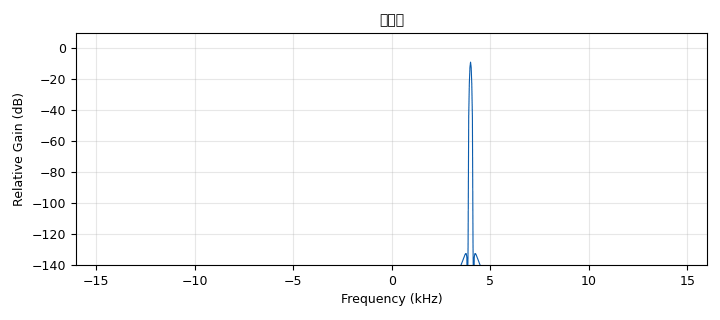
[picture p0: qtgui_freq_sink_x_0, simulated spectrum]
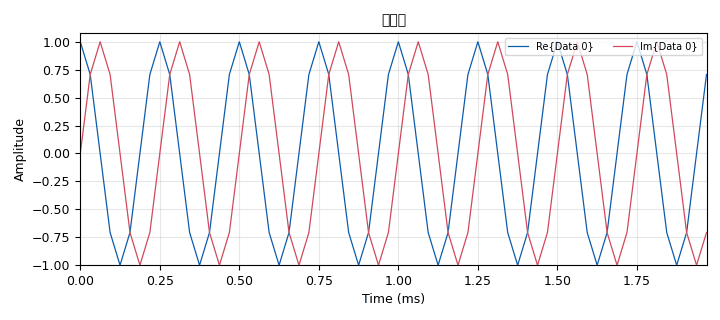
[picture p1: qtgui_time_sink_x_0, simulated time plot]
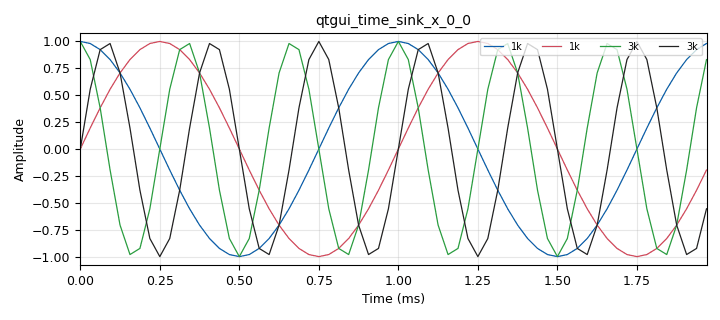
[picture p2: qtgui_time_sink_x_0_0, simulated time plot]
options:
  parameters:
    generate_options: qt_gui
    id: work
    output_language: python
    title: Not titled yet
  states: {}

blocks:
- name: samp_rate
  id: variable
  parameters:
    value: '32000'
  states: {}
- name: analog_sig_source_x_0
  id: analog_sig_source_x
  parameters:
    amp: '1'
    freq: '1000'
    offset: '0'
    phase: '0'
    samp_rate: samp_rate
    type: complex
    waveform: analog.GR_COS_WAVE
  states: {}
- name: analog_sig_source_x_0_0
  id: analog_sig_source_x
  parameters:
    amp: '1'
    freq: '3000'
    offset: '0'
    phase: '0'
    samp_rate: samp_rate
    type: complex
    waveform: analog.GR_COS_WAVE
  states: {}
- name: blocks_throttle_0
  id: blocks_throttle
  parameters:
    samples_per_second: samp_rate
    type: complex
  states: {}
- name: epy_block_0
  id: epy_block
  parameters:
    _source_code: |
      """
      Embedded Python Blocks:

      Each time this file is saved, GRC will instantiate the first class it finds
      to get ports and parameters of your block. The arguments to __init__  will
      be the parameters. All of them are required to have default values!
      """

      import numpy as np
      from gnuradio import gr


      class blk(gr.sync_block):  # other base classes are basic_block, decim_block, interp_block
          """Embedded Python Block example - a simple multiply const"""

          def __init__(self, additionFlag=True):  # only default arguments here
              """arguments to this function show up as parameters in GRC"""
              gr.sync_block.__init__(
                  self,
                  name='Add or Multiply Block',   # will show up in GRC
                  in_sig=[np.complex64,np.complex64],
                  out_sig=[np.complex64]
              )
              # if an attribute with the same name as a parameter is found,
              # a callback is registered (properties work, too).
              self.additionFlag = additionFlag

          def work(self, input_items, output_items):
              """example: add or multiply base on flag"""
              if (self.additionFlag == True):
                  output_items[0][:] = input_items[0][:] + input_items[1][:]       
              else:
                  output_items[0][:] = input_items[0][:] * input_items[1][:]
              return len(output_items[0])
    additionFlag: 'False'
  states: {}
- name: qtgui_freq_sink_x_0
  id: qtgui_freq_sink_x
  parameters:
    bw: samp_rate
    fc: '0'
    fftsize: '1024'
    gui_hint: 1,1,1,1
    name: '"运算后"'
    type: complex
  states: {}
- name: qtgui_time_sink_x_0
  id: qtgui_time_sink_x
  parameters:
    gui_hint: 1,0,1,1
    name: '"运算后"'
    size: '64'
    srate: samp_rate
    type: complex
  states: {}
- name: qtgui_time_sink_x_0_0
  id: qtgui_time_sink_x
  parameters:
    gui_hint: 0,0,1,2
    label1: 1k
    label2: 1k
    label3: 3k
    label4: 3k
    nconnections: '2'
    size: '64'
    srate: samp_rate
    type: complex
  states: {}

connections:
- [analog_sig_source_x_0, '0', epy_block_0, '0']
- [analog_sig_source_x_0, '0', qtgui_time_sink_x_0_0, '0']
- [analog_sig_source_x_0_0, '0', epy_block_0, '1']
- [analog_sig_source_x_0_0, '0', qtgui_time_sink_x_0_0, '1']
- [blocks_throttle_0, '0', qtgui_freq_sink_x_0, '0']
- [blocks_throttle_0, '0', qtgui_time_sink_x_0, '0']
- [epy_block_0, '0', blocks_throttle_0, '0']

metadata:
  file_format: 1
  grc_version: 3.10.12.0
